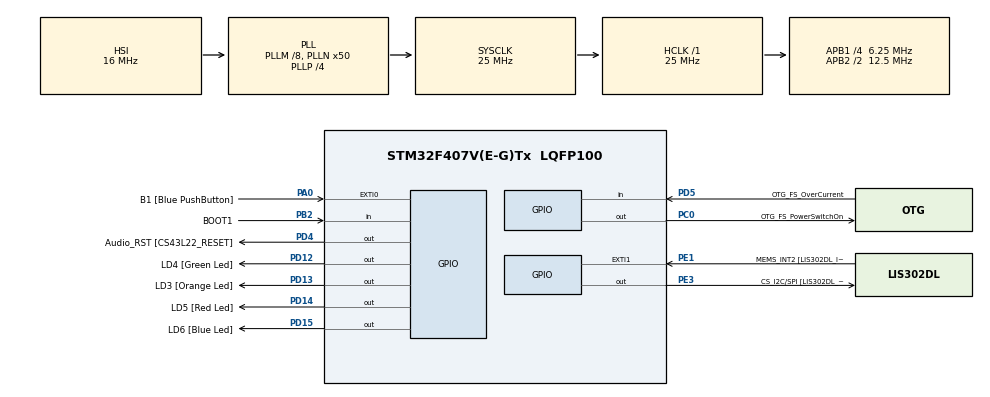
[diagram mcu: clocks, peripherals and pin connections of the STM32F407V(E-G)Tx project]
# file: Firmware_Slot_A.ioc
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Mcu.Family=STM32F4
Mcu.Name=STM32F407V(E-G)Tx
Mcu.Package=LQFP100
NVIC.PriorityGroup=NVIC_PRIORITYGROUP_0
PA0-WKUP.GPIO_Label=B1 [Blue PushButton]
PA0-WKUP.Signal=GPXTI0
PA10.GPIO_Label=OTG_FS_ID
PA10.GPIO_Mode=GPIO_MODE_AF_PP
PA10.GPIO_PuPd=GPIO_NOPULL
PA10.GPIO_Speed=GPIO_SPEED_FREQ_LOW
PA10.Signal=USB_OTG_FS_ID
PA11.GPIO_Label=OTG_FS_DM
PA11.GPIO_Mode=GPIO_MODE_AF_PP
PA11.GPIO_PuPd=GPIO_NOPULL
PA11.GPIO_Speed=GPIO_SPEED_FREQ_LOW
PA11.Signal=USB_OTG_FS_DM
PA12.GPIO_Label=OTG_FS_DP
PA12.GPIO_Mode=GPIO_MODE_AF_PP
PA12.GPIO_PuPd=GPIO_NOPULL
PA12.GPIO_Speed=GPIO_SPEED_FREQ_LOW
PA12.Signal=USB_OTG_FS_DP
PA13.GPIO_Label=SWDIO
PA13.Signal=SYS_JTMS-SWDIO
PA14.GPIO_Label=SWCLK
PA14.Signal=SYS_JTCK-SWCLK
PA4.GPIO_Label=I2S3_WS [CS43L22_LRCK]
PA4.GPIO_Mode=GPIO_MODE_AF_PP
PA4.GPIO_PuPd=GPIO_NOPULL
PA4.GPIO_Speed=GPIO_SPEED_FREQ_LOW
PA4.Signal=I2S3_WS
PA5.GPIO_Label=SPI1_SCK [LIS302DL_SCL/SPC]
PA5.GPIO_Mode=GPIO_MODE_AF_PP
PA5.GPIO_PuPd=GPIO_NOPULL
PA5.GPIO_Speed=GPIO_SPEED_FREQ_LOW
PA5.Signal=SPI1_SCK
PA6.GPIO_Label=SPI1_MISO [LIS302DL_SDO]
PA6.GPIO_Mode=GPIO_MODE_AF_PP
PA6.GPIO_PuPd=GPIO_NOPULL
PA6.GPIO_Speed=GPIO_SPEED_FREQ_LOW
PA6.Signal=SPI1_MISO
PA7.GPIO_Label=SPI1_MOSI [LIS302DL_SDA/SDI/SDO]
PA7.GPIO_Mode=GPIO_MODE_AF_PP
PA7.GPIO_PuPd=GPIO_NOPULL
PA7.GPIO_Speed=GPIO_SPEED_FREQ_LOW
PA7.Signal=SPI1_MOSI
PA9.GPIO_Label=VBUS_FS
PA9.GPIO_Mode=GPIO_MODE_INPUT
PA9.GPIO_PuPd=GPIO_NOPULL
PA9.Signal=USB_OTG_FS_VBUS
PB10.GPIO_Label=CLK_IN [MP45DT02_CLK]
PB10.GPIO_Mode=GPIO_MODE_AF_PP
PB10.GPIO_PuPd=GPIO_NOPULL
PB10.GPIO_Speed=GPIO_SPEED_FREQ_LOW
PB10.Signal=I2S2_CK
PB2.GPIO_Label=BOOT1
PB2.GPIO_Mode=GPIO_MODE_INPUT
PB2.GPIO_PuPd=GPIO_NOPULL
PB2.Signal=GPIO_Input
PB3.GPIO_Label=SWO
PB3.Signal=SYS_JTDO-SWO
PB6.GPIO_Label=Audio_SCL [CS43L22_SCL]
PB6.GPIO_Mode=GPIO_MODE_AF_OD
PB6.GPIO_PuPd=GPIO_NOPULL
PB6.GPIO_Speed=GPIO_SPEED_FREQ_LOW
PB6.Signal=I2C1_SCL
PB9.GPIO_Label=Audio_SDA [CS43L22_SDA]
PB9.GPIO_Mode=GPIO_MODE_AF_OD
PB9.GPIO_PuPd=GPIO_NOPULL
PB9.GPIO_Speed=GPIO_SPEED_FREQ_LOW
PB9.Signal=I2C1_SDA
PC0.GPIO_Label=OTG_FS_PowerSwitchOn
PC0.GPIO_PuPd=GPIO_NOPULL
PC0.GPIO_Speed=GPIO_SPEED_FREQ_LOW
PC0.PinState=GPIO_PIN_SET
PC0.Signal=GPIO_Output
PC10.GPIO_Label=I2S3_SCK [CS43L22_SCLK]
PC10.GPIO_Mode=GPIO_MODE_AF_PP
PC10.GPIO_PuPd=GPIO_NOPULL
PC10.GPIO_Speed=GPIO_SPEED_FREQ_LOW
PC10.Signal=I2S3_CK
PC12.GPIO_Label=I2S3_SD [CS43L22_SDIN]
PC12.GPIO_Mode=GPIO_MODE_AF_PP
PC12.GPIO_PuPd=GPIO_NOPULL
PC12.GPIO_Speed=GPIO_SPEED_FREQ_LOW
PC12.Signal=I2S3_SD
PC14-OSC32_IN.GPIO_Label=PC14-OSC32_IN
PC14-OSC32_IN.Signal=RCC_OSC32_IN
PC15-OSC32_OUT.GPIO_Label=PC15-OSC32_OUT
PC15-OSC32_OUT.Signal=RCC_OSC32_OUT
PC3.GPIO_Label=PDM_OUT [MP45DT02_DOUT]
PC3.GPIO_Mode=GPIO_MODE_AF_PP
PC3.GPIO_PuPd=GPIO_NOPULL
PC3.GPIO_Speed=GPIO_SPEED_FREQ_LOW
PC3.Signal=I2S2_SD
PC7.GPIO_Label=I2S3_MCK [CS43L22_MCLK]
PC7.GPIO_Mode=GPIO_MODE_AF_PP
PC7.GPIO_PuPd=GPIO_NOPULL
PC7.GPIO_Speed=GPIO_SPEED_FREQ_LOW
PC7.Signal=I2S3_MCK
PD12.GPIO_Label=LD4 [Green Led]
PD12.GPIO_PuPd=GPIO_NOPULL
PD12.GPIO_Speed=GPIO_SPEED_FREQ_LOW
PD12.Signal=GPIO_Output
PD13.GPIO_Label=LD3 [Orange Led]
PD13.GPIO_PuPd=GPIO_NOPULL
PD13.GPIO_Speed=GPIO_SPEED_FREQ_LOW
PD13.Signal=GPIO_Output
PD14.GPIO_Label=LD5 [Red Led]
PD14.GPIO_PuPd=GPIO_NOPULL
PD14.GPIO_Speed=GPIO_SPEED_FREQ_LOW
PD14.Signal=GPIO_Output
PD15.GPIO_Label=LD6 [Blue Led]
PD15.GPIO_PuPd=GPIO_NOPULL
PD15.GPIO_Speed=GPIO_SPEED_FREQ_LOW
PD15.Signal=GPIO_Output
PD4.GPIO_Label=Audio_RST [CS43L22_RESET]
PD4.GPIO_PuPd=GPIO_NOPULL
PD4.GPIO_Speed=GPIO_SPEED_FREQ_LOW
PD4.Signal=GPIO_Output
PD5.GPIO_Label=OTG_FS_OverCurrent
PD5.GPIO_Mode=GPIO_MODE_INPUT
PD5.GPIO_PuPd=GPIO_NOPULL
PD5.Signal=GPIO_Input
PE1.GPIO_Label=MEMS_INT2 [LIS302DL_INT2]
PE1.GPIO_ModeDefaultEXTI=GPIO_MODE_EVT_RISING
PE1.GPIO_PuPd=GPIO_NOPULL
PE1.Signal=GPXTI1
PE3.GPIO_Label=CS_I2C/SPI [LIS302DL_CS_I2C/SPI]
PE3.GPIO_PuPd=GPIO_NOPULL
PE3.GPIO_Speed=GPIO_SPEED_FREQ_LOW
PE3.Signal=GPIO_Output
PH0-OSC_IN.GPIO_Label=PH0-OSC_IN
PH0-OSC_IN.Signal=RCC_OSC_IN
PH1-OSC_OUT.GPIO_Label=PH1-OSC_OUT
PH1-OSC_OUT.Signal=RCC_OSC_OUT
ProjectManager.HeapSize=0x200
ProjectManager.StackSize=0x400
ProjectManager.TargetToolchain=STM32CubeIDE
RCC.48MHZClocksFreq_Value=14285714.285714285
RCC.AHBFreq_Value=25000000
RCC.APB1CLKDivider=RCC_HCLK_DIV4
RCC.APB1Freq_Value=6250000
RCC.APB1TimFreq_Value=12500000
RCC.APB2CLKDivider=RCC_HCLK_DIV2
RCC.APB2Freq_Value=12500000
RCC.APB2TimFreq_Value=25000000
RCC.CortexFreq_Value=25000000
RCC.HCLKFreq_Value=25000000
RCC.HSE_VALUE=8000000
RCC.HSI_VALUE=16000000
RCC.LSE_VALUE=32768
RCC.PLLM=8
RCC.PLLN=50
RCC.PLLP=RCC_PLLP_DIV4
RCC.PLLQ=7
RCC.SYSCLKFreq_VALUE=25000000
RCC.SYSCLKSource=RCC_SYSCLKSOURCE_PLLCLK
RCC.VCOOutputFreq_Value=100000000
VP_CRC_VS_CRC.Mode=CRC_Activate
VP_IWDG_VS_IWDG.Mode=IWDG_Activate
board=STM32F407G-DISC1

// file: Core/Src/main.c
/* USER CODE BEGIN Header */
/**
  ******************************************************************************
  * @file           : main.c
  * @brief          : Main program body
  ******************************************************************************
  * @attention
  *
  * Copyright (c) 2026 STMicroelectronics.
  * All rights reserved.
  *
  * This software is licensed under terms that can be found in the LICENSE file
  * in the root directory of this software component.
  * If no LICENSE file comes with this software, it is provided AS-IS.
  *
  ******************************************************************************
  */
/* USER CODE END Header */
#include "main.h"

/* USER CODE BEGIN Includes */
#include <stdio.h>
#include <string.h>
#include <stdint.h>
#include "metadata.h"
#include "flash_storage.h"
/* USER CODE END Includes */

CRC_HandleTypeDef hcrc;

IWDG_HandleTypeDef hiwdg;

void SystemClock_Config(void);
static void MX_GPIO_Init(void);
static void MX_CRC_Init(void);
static void MX_IWDG_Init(void);
/* USER CODE BEGIN PFP */
static HAL_StatusTypeDef Firmware_Confirm(void);
/* USER CODE END PFP */

int main(void)
{

  /* USER CODE BEGIN 1 */
  bool firmware_confirmed = false;
  /* USER CODE END 1 */

  /* MCU Configuration--------------------------------------------------------*/

  /* Reset of all peripherals, Initializes the Flash interface and the Systick. */
  HAL_Init();

  /* Configure the system clock */
  SystemClock_Config();

  /* Initialize all configured peripherals */
  MX_GPIO_Init();
  MX_CRC_Init();
  MX_IWDG_Init();
  /* USER CODE BEGIN 2 */
  if (Firmware_Confirm() != HAL_OK)
  {
      printf("Slot A firmware confirmation failed\r\n");

      NVIC_SystemReset();

      while (1)
      {
          /* Wait for reset */
      }
  }

  firmware_confirmed = true;
  /* USER CODE END 2 */

  /* Infinite loop */
  while (1)
  {

    /* USER CODE BEGIN 3 */
	if (firmware_confirmed)
	{
	    HAL_IWDG_Refresh(&hiwdg);
	}

	HAL_GPIO_TogglePin(GPIOD, LD5_Pin);
    HAL_Delay(500);
  }
  /* USER CODE END 3 */
}

void SystemClock_Config(void)
{
  RCC_OscInitTypeDef RCC_OscInitStruct = {0};
  RCC_ClkInitTypeDef RCC_ClkInitStruct = {0};

  /** Configure the main internal regulator output voltage
  */
  __HAL_RCC_PWR_CLK_ENABLE();
  __HAL_PWR_VOLTAGESCALING_CONFIG(PWR_REGULATOR_VOLTAGE_SCALE1);

  /** Initializes the RCC Oscillators according to the specified parameters
  * in the RCC_OscInitTypeDef structure.
  */
  RCC_OscInitStruct.OscillatorType = RCC_OSCILLATORTYPE_HSI|RCC_OSCILLATORTYPE_LSI;
  RCC_OscInitStruct.HSIState = RCC_HSI_ON;
  RCC_OscInitStruct.HSICalibrationValue = RCC_HSICALIBRATION_DEFAULT;
  RCC_OscInitStruct.LSIState = RCC_LSI_ON;
  RCC_OscInitStruct.PLL.PLLState = RCC_PLL_ON;
  RCC_OscInitStruct.PLL.PLLSource = RCC_PLLSOURCE_HSI;
  RCC_OscInitStruct.PLL.PLLM = 8;
  RCC_OscInitStruct.PLL.PLLN = 50;
  RCC_OscInitStruct.PLL.PLLP = RCC_PLLP_DIV4;
  RCC_OscInitStruct.PLL.PLLQ = 7;
  if (HAL_RCC_OscConfig(&RCC_OscInitStruct) != HAL_OK)
  {
    Error_Handler();
  }

  /** Initializes the CPU, AHB and APB buses clocks
  */
  RCC_ClkInitStruct.ClockType = RCC_CLOCKTYPE_HCLK|RCC_CLOCKTYPE_SYSCLK
                              |RCC_CLOCKTYPE_PCLK1|RCC_CLOCKTYPE_PCLK2;
  RCC_ClkInitStruct.SYSCLKSource = RCC_SYSCLKSOURCE_PLLCLK;
  RCC_ClkInitStruct.AHBCLKDivider = RCC_SYSCLK_DIV1;
  RCC_ClkInitStruct.APB1CLKDivider = RCC_HCLK_DIV4;
  RCC_ClkInitStruct.APB2CLKDivider = RCC_HCLK_DIV2;

  if (HAL_RCC_ClockConfig(&RCC_ClkInitStruct, FLASH_LATENCY_0) != HAL_OK)
  {
    Error_Handler();
  }
}

static void MX_CRC_Init(void)
{

  hcrc.Instance = CRC;
  if (HAL_CRC_Init(&hcrc) != HAL_OK)
  {
    Error_Handler();
  }

}

static void MX_IWDG_Init(void)
{

  hiwdg.Instance = IWDG;
  hiwdg.Init.Prescaler = IWDG_PRESCALER_4;
  hiwdg.Init.Reload = 4095;
  if (HAL_IWDG_Init(&hiwdg) != HAL_OK)
  {
    Error_Handler();
  }

}

static void MX_GPIO_Init(void)
{
  GPIO_InitTypeDef GPIO_InitStruct = {0};

  /* GPIO Ports Clock Enable */
  __HAL_RCC_GPIOE_CLK_ENABLE();
  __HAL_RCC_GPIOC_CLK_ENABLE();
  __HAL_RCC_GPIOH_CLK_ENABLE();
  __HAL_RCC_GPIOA_CLK_ENABLE();
  __HAL_RCC_GPIOB_CLK_ENABLE();
  __HAL_RCC_GPIOD_CLK_ENABLE();

  /*Configure GPIO pin Output Level */
  HAL_GPIO_WritePin(CS_I2C_SPI_GPIO_Port, CS_I2C_SPI_Pin, GPIO_PIN_RESET);

  /*Configure GPIO pin Output Level */
  HAL_GPIO_WritePin(OTG_FS_PowerSwitchOn_GPIO_Port, OTG_FS_PowerSwitchOn_Pin, GPIO_PIN_SET);

  /*Configure GPIO pin Output Level */
  HAL_GPIO_WritePin(GPIOD, LD4_Pin|LD3_Pin|LD5_Pin|LD6_Pin
                          |Audio_RST_Pin, GPIO_PIN_RESET);

  /*Configure GPIO pin : CS_I2C_SPI_Pin */
  GPIO_InitStruct.Pin = CS_I2C_SPI_Pin;
  GPIO_InitStruct.Mode = GPIO_MODE_OUTPUT_PP;
  GPIO_InitStruct.Pull = GPIO_NOPULL;
  GPIO_InitStruct.Speed = GPIO_SPEED_FREQ_LOW;
  HAL_GPIO_Init(CS_I2C_SPI_GPIO_Port, &GPIO_InitStruct);

  /*Configure GPIO pin : OTG_FS_PowerSwitchOn_Pin */
  GPIO_InitStruct.Pin = OTG_FS_PowerSwitchOn_Pin;
  GPIO_InitStruct.Mode = GPIO_MODE_OUTPUT_PP;
  GPIO_InitStruct.Pull = GPIO_NOPULL;
  GPIO_InitStruct.Speed = GPIO_SPEED_FREQ_LOW;
  HAL_GPIO_Init(OTG_FS_PowerSwitchOn_GPIO_Port, &GPIO_InitStruct);

  /*Configure GPIO pin : PDM_OUT_Pin */
  GPIO_InitStruct.Pin = PDM_OUT_Pin;
  GPIO_InitStruct.Mode = GPIO_MODE_AF_PP;
  GPIO_InitStruct.Pull = GPIO_NOPULL;
  GPIO_InitStruct.Speed = GPIO_SPEED_FREQ_LOW;
  GPIO_InitStruct.Alternate = GPIO_AF5_SPI2;
  HAL_GPIO_Init(PDM_OUT_GPIO_Port, &GPIO_InitStruct);

  /*Configure GPIO pin : B1_Pin */
  GPIO_InitStruct.Pin = B1_Pin;
  GPIO_InitStruct.Mode = GPIO_MODE_IT_RISING;
  GPIO_InitStruct.Pull = GPIO_NOPULL;
  HAL_GPIO_Init(B1_GPIO_Port, &GPIO_InitStruct);

  /*Configure GPIO pin : I2S3_WS_Pin */
  GPIO_InitStruct.Pin = I2S3_WS_Pin;
  GPIO_InitStruct.Mode = GPIO_MODE_AF_PP;
  GPIO_InitStruct.Pull = GPIO_NOPULL;
  GPIO_InitStruct.Speed = GPIO_SPEED_FREQ_LOW;
  GPIO_InitStruct.Alternate = GPIO_AF6_SPI3;
  HAL_GPIO_Init(I2S3_WS_GPIO_Port, &GPIO_InitStruct);

  /*Configure GPIO pins : SPI1_SCK_Pin SPI1_MISO_Pin SPI1_MOSI_Pin */
  GPIO_InitStruct.Pin = SPI1_SCK_Pin|SPI1_MISO_Pin|SPI1_MOSI_Pin;
  GPIO_InitStruct.Mode = GPIO_MODE_AF_PP;
  GPIO_InitStruct.Pull = GPIO_NOPULL;
  GPIO_InitStruct.Speed = GPIO_SPEED_FREQ_LOW;
  GPIO_InitStruct.Alternate = GPIO_AF5_SPI1;
  HAL_GPIO_Init(GPIOA, &GPIO_InitStruct);

  /*Configure GPIO pin : BOOT1_Pin */
  GPIO_InitStruct.Pin = BOOT1_Pin;
  GPIO_InitStruct.Mode = GPIO_MODE_INPUT;
  GPIO_InitStruct.Pull = GPIO_NOPULL;
  HAL_GPIO_Init(BOOT1_GPIO_Port, &GPIO_InitStruct);

  /*Configure GPIO pin : CLK_IN_Pin */
  GPIO_InitStruct.Pin = CLK_IN_Pin;
  GPIO_InitStruct.Mode = GPIO_MODE_AF_PP;
  GPIO_InitStruct.Pull = GPIO_NOPULL;
  GPIO_InitStruct.Speed = GPIO_SPEED_FREQ_LOW;
  GPIO_InitStruct.Alternate = GPIO_AF5_SPI2;
  HAL_GPIO_Init(CLK_IN_GPIO_Port, &GPIO_InitStruct);

  /*Configure GPIO pins : LD4_Pin LD3_Pin LD5_Pin LD6_Pin
                           Audio_RST_Pin */
  GPIO_InitStruct.Pin = LD4_Pin|LD3_Pin|LD5_Pin|LD6_Pin
                          |Audio_RST_Pin;
  GPIO_InitStruct.Mode = GPIO_MODE_OUTPUT_PP;
  GPIO_InitStruct.Pull = GPIO_NOPULL;
  GPIO_InitStruct.Speed = GPIO_SPEED_FREQ_LOW;
  HAL_GPIO_Init(GPIOD, &GPIO_InitStruct);

  /*Configure GPIO pins : I2S3_MCK_Pin I2S3_SCK_Pin I2S3_SD_Pin */
  GPIO_InitStruct.Pin = I2S3_MCK_Pin|I2S3_SCK_Pin|I2S3_SD_Pin;
  GPIO_InitStruct.Mode = GPIO_MODE_AF_PP;
  GPIO_InitStruct.Pull = GPIO_NOPULL;
  GPIO_InitStruct.Speed = GPIO_SPEED_FREQ_LOW;
  GPIO_InitStruct.Alternate = GPIO_AF6_SPI3;
  HAL_GPIO_Init(GPIOC, &GPIO_InitStruct);

  /*Configure GPIO pin : VBUS_FS_Pin */
  GPIO_InitStruct.Pin = VBUS_FS_Pin;
  GPIO_InitStruct.Mode = GPIO_MODE_INPUT;
  GPIO_InitStruct.Pull = GPIO_NOPULL;
  HAL_GPIO_Init(VBUS_FS_GPIO_Port, &GPIO_InitStruct);

  /*Configure GPIO pins : OTG_FS_ID_Pin OTG_FS_DM_Pin OTG_FS_DP_Pin */
  GPIO_InitStruct.Pin = OTG_FS_ID_Pin|OTG_FS_DM_Pin|OTG_FS_DP_Pin;
  GPIO_InitStruct.Mode = GPIO_MODE_AF_PP;
  GPIO_InitStruct.Pull = GPIO_NOPULL;
  GPIO_InitStruct.Speed = GPIO_SPEED_FREQ_LOW;
  GPIO_InitStruct.Alternate = GPIO_AF10_OTG_FS;
  HAL_GPIO_Init(GPIOA, &GPIO_InitStruct);

  /*Configure GPIO pin : OTG_FS_OverCurrent_Pin */
  GPIO_InitStruct.Pin = OTG_FS_OverCurrent_Pin;
  GPIO_InitStruct.Mode = GPIO_MODE_INPUT;
  GPIO_InitStruct.Pull = GPIO_NOPULL;
  HAL_GPIO_Init(OTG_FS_OverCurrent_GPIO_Port, &GPIO_InitStruct);

  /*Configure GPIO pins : Audio_SCL_Pin Audio_SDA_Pin */
  GPIO_InitStruct.Pin = Audio_SCL_Pin|Audio_SDA_Pin;
  GPIO_InitStruct.Mode = GPIO_MODE_AF_OD;
  GPIO_InitStruct.Pull = GPIO_NOPULL;
  GPIO_InitStruct.Speed = GPIO_SPEED_FREQ_LOW;
  GPIO_InitStruct.Alternate = GPIO_AF4_I2C1;
  HAL_GPIO_Init(GPIOB, &GPIO_InitStruct);

  /*Configure GPIO pin : MEMS_INT2_Pin */
  GPIO_InitStruct.Pin = MEMS_INT2_Pin;
  GPIO_InitStruct.Mode = GPIO_MODE_EVT_RISING;
  GPIO_InitStruct.Pull = GPIO_NOPULL;
  HAL_GPIO_Init(MEMS_INT2_GPIO_Port, &GPIO_InitStruct);

}

/* USER CODE BEGIN 4 */
static HAL_StatusTypeDef Firmware_Confirm(void)
{
    firmware_metadata_record_t latest_record;
    firmware_metadata_t confirmed_metadata;
    HAL_StatusTypeDef status;

    /* Read the latest Slot A metadata record */
    if (!Metadata_ReadLatestRecord(
            SLOT_A_METADATA_ADDRESS,
            SLOT_A_METADATA_REGION_END,
            &latest_record))
    {
        printf("Slot A metadata read failed\r\n");
        return HAL_ERROR;
    }

    /*
     * A firmware is confirmed only when the bootloader
     * has promoted it and marked it BOOT_PENDING.
     */
    if (latest_record.metadata.update_state ==
        FIRMWARE_STATE_CONFIRMED)
    {
        printf("Slot A firmware already CONFIRMED\r\n");
        return HAL_OK;
    }

    if (latest_record.metadata.update_state !=
        FIRMWARE_STATE_BOOT_PENDING)
    {
        printf(
            "Slot A firmware is not BOOT_PENDING, state: %lu\r\n",
            (unsigned long)latest_record.metadata.update_state);

        return HAL_ERROR;
    }

    printf("Slot A trial firmware detected\r\n");

    /* Copy existing metadata and change only the state */
    confirmed_metadata = latest_record.metadata;
    confirmed_metadata.update_state = FIRMWARE_STATE_CONFIRMED;

    /*
     * Append a new metadata record rather than modifying
     * the existing BOOT_PENDING record.
     */
    status = Metadata_WriteRecord(
        SLOT_A_METADATA_ADDRESS,
        SLOT_A_METADATA_REGION_END,
        FLASH_SECTOR_2,
        FLASH_VOLTAGE_RANGE_3,
        &confirmed_metadata);

    if (status != HAL_OK)
    {
        printf("Slot A confirmation write failed\r\n");
        return HAL_ERROR;
    }

    /* Read back and verify the persisted state */
    if (!Metadata_ReadLatestRecord(
            SLOT_A_METADATA_ADDRESS,
            SLOT_A_METADATA_REGION_END,
            &latest_record))
    {
        printf("Slot A confirmation verification failed\r\n");
        return HAL_ERROR;
    }

    if (latest_record.metadata.update_state !=
        FIRMWARE_STATE_CONFIRMED)
    {
        printf("Slot A confirmation state mismatch\r\n");
        return HAL_ERROR;
    }

    printf("Slot A firmware CONFIRMED\r\n");

    return HAL_OK;
}
/* USER CODE END 4 */

void Error_Handler(void)
{
  __disable_irq();
  while (1)
  {
  }
}
